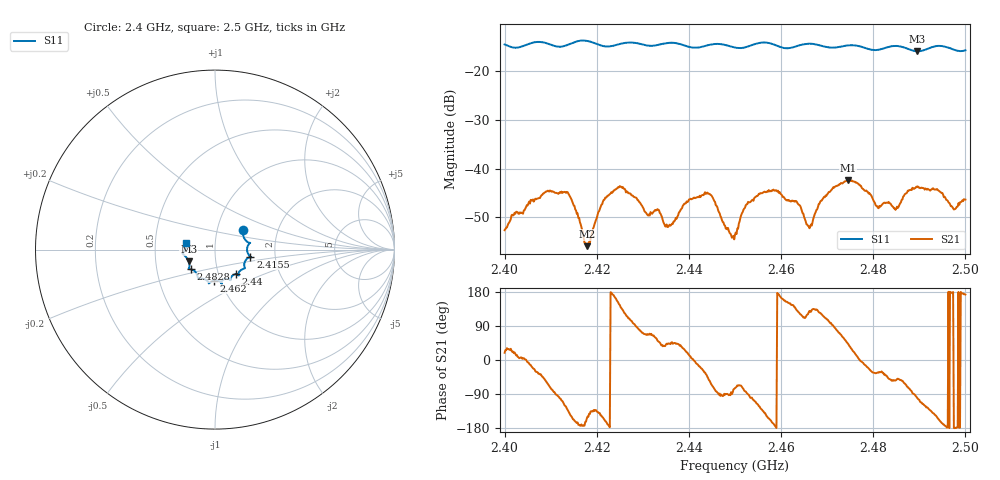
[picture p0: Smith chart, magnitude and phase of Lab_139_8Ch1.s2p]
# Hz S RI R 50
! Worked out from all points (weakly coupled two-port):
!   601 points, 2.4 GHz to 2.5 GHz, reference 50 ohm
!   highest |S21| = -42.41 dB at 2.4745 GHz (marker M1); lowest = -56.0 dB at 2.4178 GHz (marker M2)
!   lowest |S11| = -15.9 dB at 2.4895 GHz (marker M3), VSWR 1.38, Z = 37 - j5.01 ohm
!   |S11| at or under -10 dB: start of sweep to end of sweep
!   S12 and S22 are empty: the file has one direction only
!   S11 on the Smith chart (normalised r, x): 2.4 GHz: 1.33, +0.29; 2.4155 GHz: 1.49, -0.12; 2.44 GHz: 1.21, -0.34; 2.462 GHz: 0.93, -0.33; 2.4828 GHz: 0.74, -0.17; 2.5 GHz: 0.72, +0.06
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2.4e9  0.1553 0.1068  0.0022 0.000763  0 0  0 0
2.409333e9  0.1898 0.032  0.00275 -0.00524  0 0  0 0
2.4135e9  0.1836 -0.0215  -0.00355 -0.00452  0 0  0 0
2.4155e9  0.1974 -0.0394  -0.00356 -0.00102  0 0  0 0
2.416667e9  0.2022 -0.0428  -0.00246 -0.00043  0 0  0 0
2.417833e9  0.2007 -0.0422  -0.00144 -0.000687  0 0  0 0
2.421333e9  0.1723 -0.0569  -0.00402 -0.00216  0 0  0 0
2.424667e9  0.1636 -0.0937  -0.00567 0.00309  0 0  0 0
2.433333e9  0.1307 -0.1333  0.00246 0.00285  0 0  0 0
2.435833e9  0.1322 -0.1444  0.00194 0.00181  0 0  0 0
2.44e9  0.1143 -0.1365  0.00466 0.00113  0 0  0 0
2.4445e9  0.0851 -0.1662  0.00315 -0.00449  0 0  0 0
2.45e9  0.0648 -0.1626  0.000558 -0.00201  0 0  0 0
2.455167e9  0.0365 -0.1913  -0.00289 -0.00467  0 0  0 0
2.462e9  -0.00511 -0.1733  -0.00395 0.00235  0 0  0 0
2.466667e9  -0.0347 -0.1881  -0.00174 0.00192  0 0  0 0
2.4745e9  -0.0905 -0.1604  0.0055 0.00521  0 0  0 0
2.482833e9  -0.1364 -0.1095  0.00337 -0.00292  0 0  0 0
2.483333e9  -0.14 -0.1092  0.00297 -0.00343  0 0  0 0
2.4895e9  -0.146 -0.066  -0.00108 -0.00642  0 0  0 0
2.4975e9  -0.1667 -0.00135  -0.0038 -2.87e-05  0 0  0 0
2.5e9  -0.1592 0.0388  -0.00475 0.000607  0 0  0 0
